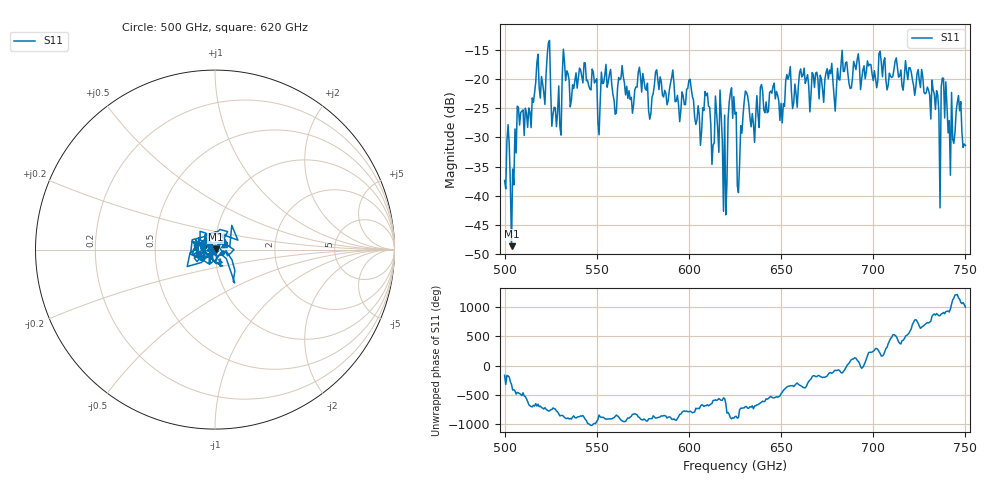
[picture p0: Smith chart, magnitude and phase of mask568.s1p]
!Created with skrf (http://scikit-rf.org).
# GHz S MA R 50.0
!freq magS11 angS11
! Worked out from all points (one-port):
!   401 points, 500 GHz to 750 GHz, reference 50 ohm
!   lowest |S11| = -48.7 dB at 503.8 GHz (marker M1), VSWR 1.01, Z = 50.3 + j0.209 ohm
!   |S11| at or under -10 dB: start of sweep to end of sweep
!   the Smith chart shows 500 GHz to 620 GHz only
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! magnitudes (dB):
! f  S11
! 500 GHz  -37.4
! 503.8 GHz  -48.7
! 508.1 GHz  -27.9
! 513.1 GHz  -24.9
! 517.5 GHz  -17.2
! 523.8 GHz  -13.8
! 526.9 GHz  -24.8
! 531.2 GHz  -19.6
! 562.5 GHz  -20.1
! 593.8 GHz  -22.8
! 610 GHz  -22.4
! 612.5 GHz  -34.6
! 618.1 GHz  -30.5
! 619.4 GHz  -26.2
! 622.5 GHz  -22.4
! 625 GHz  -26.0
! 627.5 GHz  -34.6
! 631.2 GHz  -22.3
! 634.4 GHz  -25.9
! 656.2 GHz  -25.0
! 687.5 GHz  -21.6
! 718.8 GHz  -20.1
! 733.1 GHz  -22.5
! 735 GHz  -22.7
! 738.1 GHz  -19.8
! 743.1 GHz  -30.3
! 746.2 GHz  -22.8
! 750 GHz  -31.4
